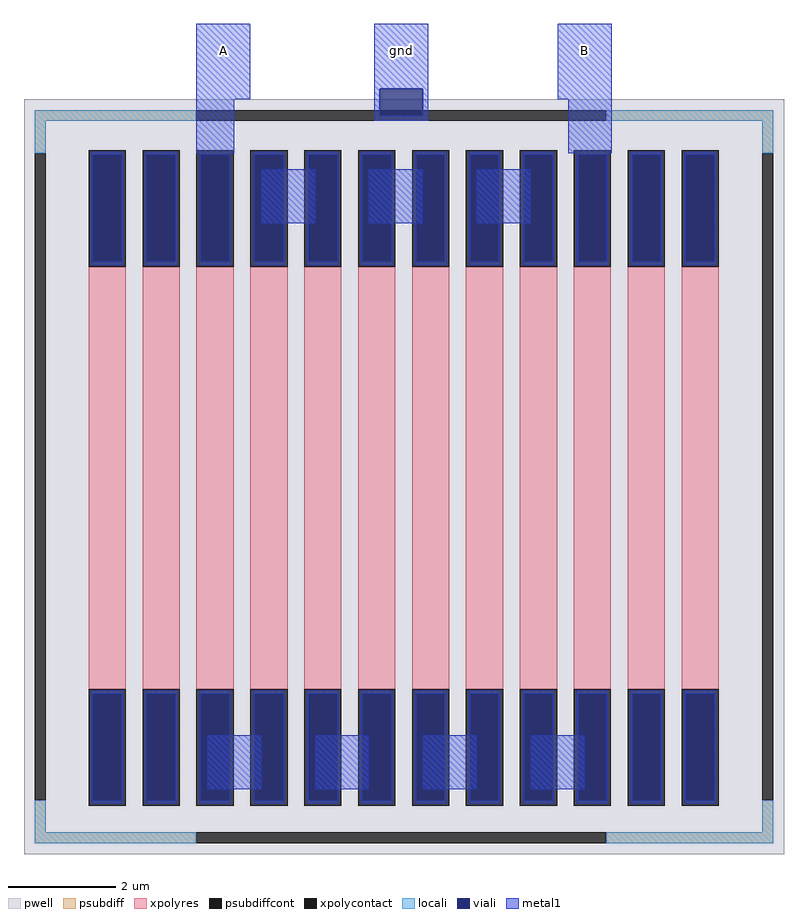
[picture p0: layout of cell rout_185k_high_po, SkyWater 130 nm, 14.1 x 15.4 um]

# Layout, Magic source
magic
tech sky130A
magscale 1 2
<< pwell >>
rect -880 -440 1940 2360
<< psubdiff >>
rect -840 2280 -240 2320
rect 1280 2280 1900 2320
rect -840 2160 -800 2280
rect -840 -360 -800 -240
rect 1860 2160 1900 2280
rect 1860 -360 1900 -240
rect -840 -400 -240 -360
rect 1280 -400 1900 -360
<< psubdiffcont >>
rect -240 2280 1280 2320
rect -840 -240 -800 2160
rect 1860 -240 1900 2160
rect -240 -400 1280 -360
<< locali >>
rect -840 2280 -240 2320
rect 1280 2280 1900 2320
rect -840 2160 -800 2280
rect -840 -360 -800 -240
rect 1860 2160 1900 2280
rect 1860 -360 1900 -240
rect -840 -400 -240 -360
rect 1280 -400 1900 -360
<< viali >>
rect 440 2320 600 2400
rect 440 2300 600 2320
<< metal1 >>
rect -240 2360 -40 2640
rect 420 2400 620 2640
rect -240 2160 -100 2360
rect 420 2300 440 2400
rect 600 2300 620 2400
rect 1100 2360 1300 2640
rect 420 2280 620 2300
rect 1140 2160 1300 2360
rect 0 1900 200 2100
rect 400 1900 600 2100
rect 800 1900 1000 2100
rect -200 -200 0 0
rect 200 -200 400 0
rect 600 -200 800 0
rect 1000 -200 1200 0
use sky130_fd_pr__res_xhigh_po_0p69_EAXDFB  sky130_fd_pr__res_xhigh_po_0p69_EAXDFB_0
transform 1 0 1229 0 1 956
box -69 -1256 145 1256
use sky130_fd_pr__res_xhigh_po_0p69_EAXDFB  sky130_fd_pr__res_xhigh_po_0p69_EAXDFB_1
transform 1 0 1429 0 1 956
box -69 -1256 145 1256
use sky130_fd_pr__res_xhigh_po_0p69_EAXDFB  sky130_fd_pr__res_xhigh_po_0p69_EAXDFB_2
transform 1 0 -171 0 1 956
box -69 -1256 145 1256
use sky130_fd_pr__res_xhigh_po_0p69_EAXDFB  sky130_fd_pr__res_xhigh_po_0p69_EAXDFB_3
transform 1 0 1629 0 1 956
box -69 -1256 145 1256
use sky130_fd_pr__res_xhigh_po_0p69_EAXDFB  sky130_fd_pr__res_xhigh_po_0p69_EAXDFB_4
transform 1 0 -371 0 1 956
box -69 -1256 145 1256
use sky130_fd_pr__res_xhigh_po_0p69_EAXDFB  sky130_fd_pr__res_xhigh_po_0p69_EAXDFB_5
transform 1 0 -571 0 1 956
box -69 -1256 145 1256
use sky130_fd_pr__res_xhigh_po_0p69_EAXDFB  XROUT1
transform 1 0 29 0 1 956
box -69 -1256 145 1256
use sky130_fd_pr__res_xhigh_po_0p69_EAXDFB  XROUT2
transform 1 0 229 0 1 956
box -69 -1256 145 1256
use sky130_fd_pr__res_xhigh_po_0p69_EAXDFB  XROUT3
transform 1 0 429 0 1 956
box -69 -1256 145 1256
use sky130_fd_pr__res_xhigh_po_0p69_EAXDFB  XROUT4
transform 1 0 629 0 1 956
box -69 -1256 145 1256
use sky130_fd_pr__res_xhigh_po_0p69_EAXDFB  XROUT5
transform 1 0 829 0 1 956
box -69 -1256 145 1256
use sky130_fd_pr__res_xhigh_po_0p69_EAXDFB  XROUT6
transform 1 0 1029 0 1 956
box -69 -1256 145 1256
<< labels >>
flabel metal1 420 2440 620 2640 0 FreeSans 256 0 0 0 gnd
port 1 nsew
flabel metal1 -240 2440 -40 2640 0 FreeSans 256 0 0 0 A
port 0 nsew
flabel metal1 1100 2440 1300 2640 0 FreeSans 256 0 0 0 B
port 2 nsew
<< end >>

# cell sky130_fd_pr__res_xhigh_po_0p69_EAXDFB: kit device sky130_fd_pr__res_xhigh_po_0p69, w 0.690 l 8.0 m 1 nx 1 wmin 0.690 lmin 0.50 class resistor rho 2000 val 23.733k dummy 0 dw 0.0 term 188.2 sterm 0.0 caplen 0 wmax 0.690 guard 0 glc 1 grc 1 gtc 1 gbc 1 compatible {sky130_fd_pr__res_xhigh_po_0p35 sky130_fd_pr__res_xhigh_po_0p69 sky130_fd_pr__res_xhigh_po_1p41 sky130_fd_pr__res_xhigh_po_2p85 sky130_fd_pr__res_xhigh_po_5p73} snake 0 full_metal 1 n_guard 0 hv_guard 0 vias 1 viagb 0 viagt 0 viagl 0 viagr 0
